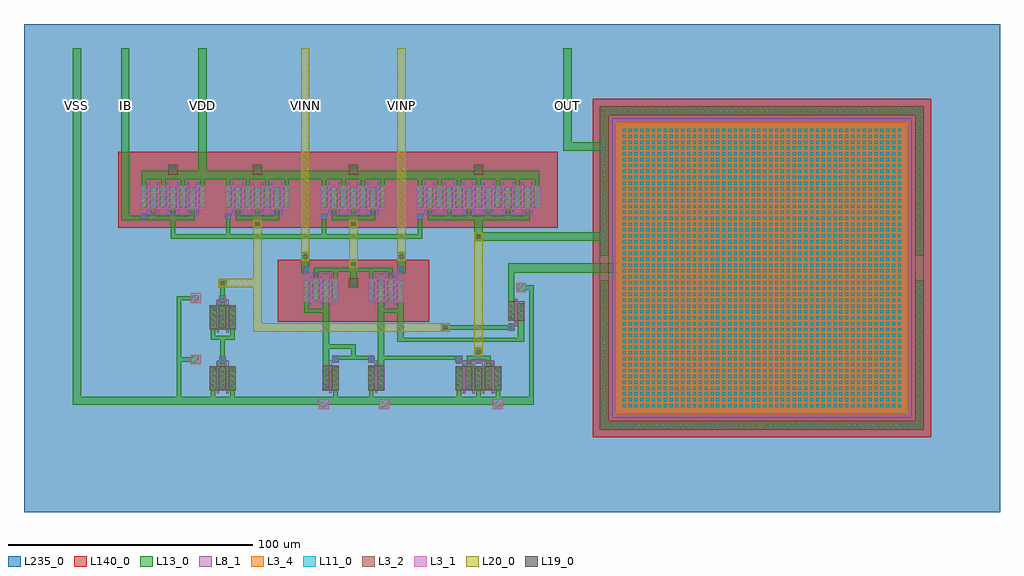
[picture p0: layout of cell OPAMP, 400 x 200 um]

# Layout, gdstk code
from math import pi, radians
import gdstk
lib = gdstk.Library(unit=1e-6, precision=1e-07)
def R(c, l, rs):  # rectangles x0, y0, x1, y1
    for r in rs: c.add(gdstk.rectangle(r[:2], r[2:], *l))
def A(c, l, x, y, w, h, nx, ny, dx, dy):  # array of equal rectangles
    R(c, l, [(x+i*dx, y+j*dy, x+i*dx+w, y+j*dy+h) for i in range(nx) for j in range(ny)])
def P(c, l, *ps):  # polygons
    for p in ps: c.add(gdstk.Polygon(p, *l))
L3_1 = (3, 1)
L3_2 = (3, 2)
L3_4 = (3, 4)
L8_1 = (8, 1)
L11_0 = (11, 0)
L13_0 = (13, 0)
L19_0 = (19, 0)
L20_0 = (20, 0)
L140_0 = (140, 0)
L235_0 = (235, 0)

fet_p_1 = lib.new_cell('fet_p$1')
R(fet_p_1, L3_1, [(-13.3,-5,13.3,5)])
A(fet_p_1, L11_0, -12.5, -3.5, 1, 1, 7, 4, 4, 2)
A(fet_p_1, L13_0, -13.3, -4.3, 2.6, 8.6, 7, 1, 4, 0)
fet_p_1.add(gdstk.FlexPath([(2,-6.2),(2,6.2)], 1, ends="flush", simple_path=True, layer=8, datatype=1))  # L8_1
fet_p_1.add(gdstk.FlexPath([(-2,-6.2),(-2,6.2)], 1, ends="flush", simple_path=True, layer=8, datatype=1))  # L8_1
fet_p_1.add(gdstk.FlexPath([(6,-6.2),(6,6.2)], 1, ends="flush", simple_path=True, layer=8, datatype=1))  # L8_1
fet_p_1.add(gdstk.FlexPath([(-6,-6.2),(-6,6.2)], 1, ends="flush", simple_path=True, layer=8, datatype=1))  # L8_1
fet_p_1.add(gdstk.FlexPath([(10,-6.2),(10,6.2)], 1, ends="flush", simple_path=True, layer=8, datatype=1))  # L8_1
fet_p_1.add(gdstk.FlexPath([(-10,-6.2),(-10,6.2)], 1, ends="flush", simple_path=True, layer=8, datatype=1))  # L8_1

fet_p_2 = lib.new_cell('fet_p$2')
R(fet_p_2, L3_1, [(-25.3,-5,25.3,5)])
A(fet_p_2, L11_0, -24.5, -3.5, 1, 1, 13, 4, 4, 2)
A(fet_p_2, L13_0, -25.3, -4.3, 2.6, 8.6, 13, 1, 4, 0)
fet_p_2.add(gdstk.FlexPath([(2,-6.2),(2,6.2)], 1, ends="flush", simple_path=True, layer=8, datatype=1))  # L8_1
fet_p_2.add(gdstk.FlexPath([(-2,-6.2),(-2,6.2)], 1, ends="flush", simple_path=True, layer=8, datatype=1))  # L8_1
fet_p_2.add(gdstk.FlexPath([(6,-6.2),(6,6.2)], 1, ends="flush", simple_path=True, layer=8, datatype=1))  # L8_1
fet_p_2.add(gdstk.FlexPath([(-6,-6.2),(-6,6.2)], 1, ends="flush", simple_path=True, layer=8, datatype=1))  # L8_1
fet_p_2.add(gdstk.FlexPath([(10,-6.2),(10,6.2)], 1, ends="flush", simple_path=True, layer=8, datatype=1))  # L8_1
fet_p_2.add(gdstk.FlexPath([(-10,-6.2),(-10,6.2)], 1, ends="flush", simple_path=True, layer=8, datatype=1))  # L8_1
fet_p_2.add(gdstk.FlexPath([(14,-6.2),(14,6.2)], 1, ends="flush", simple_path=True, layer=8, datatype=1))  # L8_1
fet_p_2.add(gdstk.FlexPath([(-14,-6.2),(-14,6.2)], 1, ends="flush", simple_path=True, layer=8, datatype=1))  # L8_1
fet_p_2.add(gdstk.FlexPath([(18,-6.2),(18,6.2)], 1, ends="flush", simple_path=True, layer=8, datatype=1))  # L8_1
fet_p_2.add(gdstk.FlexPath([(-18,-6.2),(-18,6.2)], 1, ends="flush", simple_path=True, layer=8, datatype=1))  # L8_1
fet_p_2.add(gdstk.FlexPath([(22,-6.2),(22,6.2)], 1, ends="flush", simple_path=True, layer=8, datatype=1))  # L8_1
fet_p_2.add(gdstk.FlexPath([(-22,-6.2),(-22,6.2)], 1, ends="flush", simple_path=True, layer=8, datatype=1))  # L8_1

fet_n_2 = lib.new_cell('fet_n$2')
R(fet_n_2, L3_2, [(-5.3,-5,5.3,5)])
A(fet_n_2, L11_0, -4.5, -3.5, 1, 1, 3, 4, 4, 2)
A(fet_n_2, L13_0, -5.3, -4.3, 2.6, 8.6, 3, 1, 4, 0)
fet_n_2.add(gdstk.FlexPath([(2,-6.2),(2,6.2)], 1, ends="flush", simple_path=True, layer=8, datatype=1))  # L8_1
fet_n_2.add(gdstk.FlexPath([(-2,-6.2),(-2,6.2)], 1, ends="flush", simple_path=True, layer=8, datatype=1))  # L8_1

fet_n_3 = lib.new_cell('fet_n$3')
R(fet_n_3, L3_2, [(-3.3,-4,3.3,4)])
A(fet_n_3, L11_0, -2.5, -2.5, 1, 1, 1, 3, 0, 2)
A(fet_n_3, L11_0, 1.5, -2.5, 1, 1, 1, 3, 0, 2)
R(fet_n_3, L13_0, [(-3.3,-3.3,-0.7,3.3), (0.7,-3.3,3.3,3.3)])
fet_n_3.add(gdstk.FlexPath([(0,-5.2),(0,5.2)], 1, ends="flush", simple_path=True, layer=8, datatype=1))  # L8_1

cont_g_1 = lib.new_cell('cont_g$1')
R(cont_g_1, L8_1, [(-1.3,-1.3,1.3,1.3)])
R(cont_g_1, L11_0, [(-0.5,-0.5,0.5,0.5)])
R(cont_g_1, L13_0, [(-1.3,-1.3,1.3,1.3)])

cont_g = lib.new_cell('cont_g')
R(cont_g, L8_1, [(-1.3,-1.3,1.3,1.3)])
R(cont_g, L11_0, [(-0.5,-0.5,0.5,0.5)])
R(cont_g, L13_0, [(-1.3,-1.3,1.3,1.3)])

cont_p = lib.new_cell('cont_p')
R(cont_p, L3_1, [(-2,-2,2,2)])
R(cont_p, L11_0, [(-0.5,-0.5,0.5,0.5)])
R(cont_p, L13_0, [(-1.3,-1.3,1.3,1.3)])

fet_p = lib.new_cell('fet_p')
R(fet_p, L3_1, [(-7.3,-5,7.3,5)])
A(fet_p, L11_0, -6.5, -3.5, 1, 1, 4, 4, 4, 2)
A(fet_p, L13_0, -7.3, -4.3, 2.6, 8.6, 4, 1, 4, 0)
fet_p.add(gdstk.FlexPath([(0,-6.2),(0,6.2)], 1, ends="flush", simple_path=True, layer=8, datatype=1))  # L8_1
fet_p.add(gdstk.FlexPath([(-4,-6.2),(-4,6.2)], 1, ends="flush", simple_path=True, layer=8, datatype=1))  # L8_1
fet_p.add(gdstk.FlexPath([(4,-6.2),(4,6.2)], 1, ends="flush", simple_path=True, layer=8, datatype=1))  # L8_1

cont_n = lib.new_cell('cont_n')
R(cont_n, L3_2, [(-2,-2,2,2)])
R(cont_n, L11_0, [(-0.5,-0.5,0.5,0.5)])
R(cont_n, L13_0, [(-1.3,-1.3,1.3,1.3)])

fet_n = lib.new_cell('fet_n')
R(fet_n, L3_2, [(-3.3,-5,3.3,5)])
A(fet_n, L11_0, -2.5, -3.5, 1, 1, 1, 4, 0, 2)
A(fet_n, L11_0, 1.5, -3.5, 1, 1, 1, 4, 0, 2)
R(fet_n, L13_0, [(-3.3,-4.3,-0.7,4.3), (0.7,-4.3,3.3,4.3)])
fet_n.add(gdstk.FlexPath([(0,-6.2),(0,6.2)], 1, ends="flush", simple_path=True, layer=8, datatype=1))  # L8_1

moscap = lib.new_cell('moscap')
P(moscap, L3_2, [(-66.3,-66.4),(-66.3,62.8),(-62.7,62.8),(-62.7,-62.8),(62.7,-62.8),(62.7,62.8),(-66.3,62.8),(-66.3,66.4),(66.3,66.4),(66.3,-66.4)])
R(moscap, L3_4, [(-59.9,-60,59.9,60)])
R(moscap, L8_1, [(-61.3,-61.4,61.3,61.4)])
A(moscap, L11_0, -65.1, -65.2, 1.2, 1.2, 1, 27, 0, 2.4)
A(moscap, L11_0, -65.1, -65.2, 1.2, 1.2, 25, 2, 2.4, 129.2)
A(moscap, L11_0, 6.3, -65.2, 1.2, 1.2, 25, 2, 2.4, 129.2)
A(moscap, L11_0, 63.9, -65.2, 1.2, 1.2, 1, 27, 0, 2.4)
A(moscap, L11_0, -57, -57, 1.2, 1.2, 48, 48, 2.4, 2.4)
A(moscap, L11_0, -65.1, 1.6, 1.2, 1.2, 1, 27, 0, 2.4)
A(moscap, L11_0, 63.9, 1.6, 1.2, 1.2, 1, 27, 0, 2.4)
R(moscap, L13_0, [(-59.3,-59.3,59.3,59.3)])
P(moscap, L13_0, [(-66.3,-66.4),(-66.3,66.4),(-5,66.4),(-5,62.8),(-62.7,62.8),(-62.7,-62.8),(-5,-62.8),(-5,-66.4)],
  [(5,-66.4),(5,-62.8),(62.7,-62.8),(62.7,62.8),(5,62.8),(5,66.4),(66.3,66.4),(66.3,-66.4)])
R(moscap, L140_0, [(-69.3,-69.4,69.3,69.4)])

via_1 = lib.new_cell('via_1')
R(via_1, L13_0, [(-1.7,-1.7,1.7,1.7)])
R(via_1, L19_0, [(-0.7,-0.7,0.7,0.7)])
R(via_1, L20_0, [(-1.7,-1.7,1.7,1.7)])

fet_n_1 = lib.new_cell('fet_n$1')
R(fet_n_1, L3_2, [(-9.3,-5,9.3,5)])
A(fet_n_1, L11_0, -8.5, -3.5, 1, 1, 5, 4, 4, 2)
A(fet_n_1, L13_0, -9.3, -4.3, 2.6, 8.6, 5, 1, 4, 0)
fet_n_1.add(gdstk.FlexPath([(2,-6.2),(2,6.2)], 1, ends="flush", simple_path=True, layer=8, datatype=1))  # L8_1
fet_n_1.add(gdstk.FlexPath([(-2,-6.2),(-2,6.2)], 1, ends="flush", simple_path=True, layer=8, datatype=1))  # L8_1
fet_n_1.add(gdstk.FlexPath([(6,-6.2),(6,6.2)], 1, ends="flush", simple_path=True, layer=8, datatype=1))  # L8_1
fet_n_1.add(gdstk.FlexPath([(-6,-6.2),(-6,6.2)], 1, ends="flush", simple_path=True, layer=8, datatype=1))  # L8_1

text_4 = lib.new_cell('TEXT$4')
P(text_4, L235_0, [(0,0),(0,5.6),(0.8,5.6),(1.6,4.8),(2.4,4.8),(3.2,5.6),(4,5.6),(4,0),(3.2,0),(3.2,4),(2.8,4),(2,3.2),(1.2,4),(0.8,4),(0.8,0)],
  [(5.6,0),(4.8,0.8),(4.8,1.6),(5.6,1.6),(5.6,1.2),(6,0.8),(7.6,0.8),(8,1.2),(8,2.4),(7.6,2.8),(4.8,2.8),(4.8,5.6),(8.8,5.6),(8.8,4.8),(5.6,4.8),(5.6,3.6),(8,3.6),(8.8,2.8),(8.8,0.8),(8,0)])

text_8 = lib.new_cell('TEXT$8')
P(text_8, L235_0, [(0,0),(0,5.6),(0.8,5.6),(1.6,4.8),(2.4,4.8),(3.2,5.6),(4,5.6),(4,0),(3.2,0),(3.2,4),(2.8,4),(2,3.2),(1.2,4),(0.8,4),(0.8,0)],
  [(5.6,0),(5.6,0.8),(6.8,0.8),(7.6,1.6),(7.6,2),(5.6,2),(4.8,2.8),(7.6,2.8),(8,3.2),(8,4.4),(7.6,4.8),(6,4.8),(5.6,4.4),(5.6,3.2),(6,2.8),(4.8,2.8),(4.8,4.8),(5.6,5.6),(8,5.6),(8.8,4.8),(8.8,1.6),(7.2,0)])

text_10 = lib.new_cell('TEXT$10')
P(text_10, L235_0, [(0,0),(0,5.6),(0.8,5.6),(1.6,4.8),(2.4,4.8),(3.2,5.6),(4,5.6),(4,0),(3.2,0),(3.2,4),(2.8,4),(2,3.2),(1.2,4),(0.8,4),(0.8,0)],
  [(4.8,0),(4.8,0.8),(6.4,0.8),(6.4,4),(6,4),(5.2,3.2),(4.8,3.2),(4.8,4),(6.4,5.6),(7.2,5.6),(7.2,0.8),(8.8,0.8),(8.8,0)],
  [(9.6,0),(9.6,0.8),(11.2,0.8),(11.2,4),(10.8,4),(10,3.2),(9.6,3.2),(9.6,4),(11.2,5.6),(12,5.6),(12,0.8),(13.6,0.8),(13.6,0)])

text_2 = lib.new_cell('TEXT$2')
P(text_2, L235_0, [(0,0),(0,5.6),(0.8,5.6),(1.6,4.8),(2.4,4.8),(3.2,5.6),(4,5.6),(4,0),(3.2,0),(3.2,4),(2.8,4),(2,3.2),(1.2,4),(0.8,4),(0.8,0)],
  [(5.6,0),(4.8,0.8),(4.8,1.6),(5.6,1.6),(5.6,1.2),(6,0.8),(7.6,0.8),(8,1.2),(8,2),(7.6,2.4),(6.4,2.4),(6.4,3.2),(7.6,3.2),(8,3.6),(8,4.4),(7.6,4.8),(6,4.8),(5.6,4.4),(5.6,4),(4.8,4),(4.8,4.8),(5.6,5.6),(8,5.6),(8.8,4.8),(8.8,3.2),(8.4,2.8),(8.8,2.4),(8.8,0.8),(8,0)])

text_6 = lib.new_cell('TEXT$6')
P(text_6, L235_0, [(0,0),(0,5.6),(0.8,5.6),(1.6,4.8),(2.4,4.8),(3.2,5.6),(4,5.6),(4,0),(3.2,0),(3.2,4),(2.8,4),(2,3.2),(1.2,4),(0.8,4),(0.8,0)],
  [(6.4,0),(6.4,2.8),(8,4.4),(8,4.8),(4.8,4.8),(4.8,5.6),(8.8,5.6),(8.8,4),(7.2,2.4),(7.2,0)])

text_7 = lib.new_cell('TEXT$7')
P(text_7, L235_0, [(0,0),(0,5.6),(0.8,5.6),(1.6,4.8),(2.4,4.8),(3.2,5.6),(4,5.6),(4,0),(3.2,0),(3.2,4),(2.8,4),(2,3.2),(1.2,4),(0.8,4),(0.8,0)],
  [(5.6,0),(4.8,0.8),(4.8,2.4),(5.2,2.8),(4.8,3.2),(4.8,4.8),(5.6,5.6),(8,5.6),(8.8,4.8),(6,4.8),(5.6,4.4),(5.6,3.6),(6,3.2),(7.6,3.2),(8,3.6),(8,4.4),(7.6,4.8),(8.8,4.8),(8.8,3.2),(8.4,2.8),(8.8,2.4),(6,2.4),(5.6,2),(5.6,1.2),(6,0.8),(7.6,0.8),(8,1.2),(8,2),(7.6,2.4),(8.8,2.4),(8.8,0.8),(8,0)])

text_1 = lib.new_cell('TEXT$1')
P(text_1, L235_0, [(0,0),(0,5.6),(0.8,5.6),(1.6,4.8),(2.4,4.8),(3.2,5.6),(4,5.6),(4,0),(3.2,0),(3.2,4),(2.8,4),(2,3.2),(1.2,4),(0.8,4),(0.8,0)],
  [(4.8,0),(4.8,2),(5.6,2.8),(7.6,2.8),(8,3.2),(8,4.4),(7.6,4.8),(6,4.8),(5.6,4.4),(5.6,4),(4.8,4),(4.8,4.8),(5.6,5.6),(8,5.6),(8.8,4.8),(8.8,2.8),(8,2),(6,2),(5.6,1.6),(5.6,0.8),(8.8,0.8),(8.8,0)])

text_5 = lib.new_cell('TEXT$5')
P(text_5, L235_0, [(0,0),(0,5.6),(0.8,5.6),(1.6,4.8),(2.4,4.8),(3.2,5.6),(4,5.6),(4,0),(3.2,0),(3.2,4),(2.8,4),(2,3.2),(1.2,4),(0.8,4),(0.8,0)],
  [(5.6,0),(4.8,0.8),(4.8,4),(6.4,5.6),(8,5.6),(8,4.8),(6.8,4.8),(6,4),(6,3.6),(8,3.6),(8.8,2.8),(6,2.8),(5.6,2.4),(5.6,1.2),(6,0.8),(7.6,0.8),(8,1.2),(8,2.4),(7.6,2.8),(8.8,2.8),(8.8,0.8),(8,0)])

text = lib.new_cell('TEXT')
P(text, L235_0, [(0,0),(0,5.6),(0.8,5.6),(1.6,4.8),(2.4,4.8),(3.2,5.6),(4,5.6),(4,0),(3.2,0),(3.2,4),(2.8,4),(2,3.2),(1.2,4),(0.8,4),(0.8,0)],
  [(4.8,0),(4.8,0.8),(6.4,0.8),(6.4,4),(6,4),(5.2,3.2),(4.8,3.2),(4.8,4),(6.4,5.6),(7.2,5.6),(7.2,0.8),(8.8,0.8),(8.8,0)])

text_3 = lib.new_cell('TEXT$3')
P(text_3, L235_0, [(0,0),(0,5.6),(0.8,5.6),(1.6,4.8),(2.4,4.8),(3.2,5.6),(4,5.6),(4,0),(3.2,0),(3.2,4),(2.8,4),(2,3.2),(1.2,4),(0.8,4),(0.8,0)],
  [(7.2,0),(7.2,1.2),(4.8,1.2),(4.8,2),(7.2,2),(7.2,4),(6.8,4),(5.6,2.8),(5.6,2),(4.8,2),(4.8,3.2),(7.2,5.6),(8,5.6),(8,2),(8.8,2),(8.8,1.2),(8,1.2),(8,0)])

text_9 = lib.new_cell('TEXT$9')
R(text_9, L235_0, [(11.2,2,12,3.6)])
P(text_9, L235_0, [(0,0),(0,5.6),(0.8,5.6),(1.6,4.8),(2.4,4.8),(3.2,5.6),(4,5.6),(4,0),(3.2,0),(3.2,4),(2.8,4),(2,3.2),(1.2,4),(0.8,4),(0.8,0)],
  [(4.8,0),(4.8,0.8),(6.4,0.8),(6.4,4),(6,4),(5.2,3.2),(4.8,3.2),(4.8,4),(6.4,5.6),(7.2,5.6),(7.2,0.8),(8.8,0.8),(8.8,0)],
  [(10.4,0),(9.6,0.8),(9.6,4.8),(10.4,5.6),(12.8,5.6),(13.6,4.8),(10.8,4.8),(10.4,4.4),(10.4,1.2),(10.8,0.8),(12.4,0.8),(12.8,1.2),(12.8,4.4),(12.4,4.8),(13.6,4.8),(13.6,0.8),(12.8,0)])

text_11 = lib.new_cell('TEXT$11')
P(text_11, L235_0, [(0,0),(0,5.6),(0.8,5.6),(1.6,4.8),(2.4,4.8),(3.2,5.6),(4,5.6),(4,0),(3.2,0),(3.2,4),(2.8,4),(2,3.2),(1.2,4),(0.8,4),(0.8,0)],
  [(4.8,0),(4.8,0.8),(6.4,0.8),(6.4,4),(6,4),(5.2,3.2),(4.8,3.2),(4.8,4),(6.4,5.6),(7.2,5.6),(7.2,0.8),(8.8,0.8),(8.8,0)],
  [(9.6,0),(9.6,2),(10.4,2.8),(12.4,2.8),(12.8,3.2),(12.8,4.4),(12.4,4.8),(10.8,4.8),(10.4,4.4),(10.4,4),(9.6,4),(9.6,4.8),(10.4,5.6),(12.8,5.6),(13.6,4.8),(13.6,2.8),(12.8,2),(10.8,2),(10.4,1.6),(10.4,0.8),(13.6,0.8),(13.6,0)])

opamp = lib.new_cell('OPAMP')
R(opamp, L8_1, [(78.9,61,83.9,62), (177,61,192.8,62), (125.1,61.2,128.9,62.2), (141,61.2,144.8,62.2), (198.4,76.1,202.2,77.1), (78.9,86,83.9,87), (114.4,97.1,126.2,98.1), (143.8,97.1,155.6,98.1), (47.8,121.7,71.6,122.7), (82.4,121.7,106.2,122.7), (121.7,121.7,145.5,122.7), (161,121.7,208.8,122.7)])
A(opamp, L13_0, 82.8, 112, 1.8, 9.7, 3, 1, 39.3, 0)
R(opamp, L13_0, [(20,43.9,23.4,170), (20,43.9,208.9,47.3), (62.6,43.9,64.4,88.5), (126.7,43.9,128.5,51.3), (141.4,43.9,143.2,51.3), (207.1,43.9,208.9,92.9), (80.5,58.3,82.3,72.3), (122.4,59,125,86.6), (145,59,147.6,86.6), (62.6,61.6,71.7,63.4), (126.4,62.3,143.6,64.1), (134.1,62.3,135.9,68.8), (145,62.3,179.6,64.1), (122.4,67,135.9,68.8), (153,69.7,205,71.5), (153,69.7,155.6,86.6), (202.4,69.7,205,79.8), (171,74.7,201,76.5), (80.5,83.3,82.3,95.5), (198.4,84.8,201,102), (62.6,86.7,71.7,88.5), (204.2,91.1,208.9,92.9), (133.7,92.6,136.3,100.2), (113.6,98,117,104), (153,98,156.4,104), (198.4,98,245.4,102), (126.8,98.4,143.2,100.2), (184.6,111.2,188,121.4), (184.6,111.2,239.6,114.6), (60.2,112,62,121.7), (60.2,112,163.2,113.8), (94.8,117.4,96.6,121.4), (134.1,117.4,135.9,121.4), (39.8,119.6,52.2,121.4), (39.8,119.6,43.2,170), (48.2,136.4,211.2,139.8), (71.4,136.4,74.8,170), (221,148.1,239.6,151.5), (221,148.1,224.4,170), (20,170,23.4,190), (39.8,170,43.2,190), (71.4,170,74.8,190), (221,170,224.4,190)])
P(opamp, L13_0, [(118.8,94.4),(118.8,100.2),(128.6,100.2),(128.6,94.4),(126.8,94.4),(126.8,98.4),(120.6,98.4),(120.6,94.4)],
  [(126.1,119.6),(126.1,125.4),(127.9,125.4),(127.9,121.4),(134.1,121.4),(134.1,125.4),(135.9,125.4),(135.9,121.4),(142.1,121.4),(142.1,125.4),(143.9,125.4),(143.9,119.6)],
  [(122.1,132.4),(122.1,138.2),(147.9,138.2),(147.9,132.4),(146.1,132.4),(146.1,136.4),(139.9,136.4),(139.9,132.4),(138.1,132.4),(138.1,136.4),(131.9,136.4),(131.9,132.4),(130.1,132.4),(130.1,136.4),(123.9,136.4),(123.9,132.4)],
  [(82.8,132.4),(82.8,138.2),(108.6,138.2),(108.6,132.4),(106.8,132.4),(106.8,136.4),(100.6,136.4),(100.6,132.4),(98.8,132.4),(98.8,136.4),(92.6,136.4),(92.6,132.4),(90.8,132.4),(90.8,136.4),(84.6,136.4),(84.6,132.4)],
  [(86.8,119.6),(86.8,125.4),(88.6,125.4),(88.6,121.4),(94.8,121.4),(94.8,125.4),(96.6,125.4),(96.6,121.4),(102.8,121.4),(102.8,125.4),(104.6,125.4),(104.6,119.6)],
  [(48.2,132.4),(48.2,138.2),(74,138.2),(74,132.4),(72.2,132.4),(72.2,136.4),(66,136.4),(66,132.4),(64.2,132.4),(64.2,136.4),(58,136.4),(58,132.4),(56.2,132.4),(56.2,136.4),(50,136.4),(50,132.4)],
  [(52.2,119.6),(52.2,125.4),(54,125.4),(54,121.4),(60.2,121.4),(60.2,125.4),(62,125.4),(62,121.4),(68.2,121.4),(68.2,125.4),(70,125.4),(70,119.6)],
  [(165.4,119.6),(165.4,125.4),(167.2,125.4),(167.2,121.4),(173.4,121.4),(173.4,125.4),(175.2,125.4),(175.2,121.4),(181.4,121.4),(181.4,125.4),(183.2,125.4),(183.2,121.4),(189.4,121.4),(189.4,125.4),(191.2,125.4),(191.2,121.4),(197.4,121.4),(197.4,125.4),(199.2,125.4),(199.2,121.4),(205.4,121.4),(205.4,125.4),(207.2,125.4),(207.2,119.6)],
  [(161.4,132.4),(161.4,138.2),(211.2,138.2),(211.2,132.4),(209.4,132.4),(209.4,136.4),(203.2,136.4),(203.2,132.4),(201.4,132.4),(201.4,136.4),(195.2,136.4),(195.2,132.4),(193.4,132.4),(193.4,136.4),(187.2,136.4),(187.2,132.4),(185.4,132.4),(185.4,136.4),(179.2,136.4),(179.2,132.4),(177.4,132.4),(177.4,136.4),(171.2,136.4),(171.2,132.4),(169.4,132.4),(169.4,136.4),(163.2,136.4),(163.2,132.4)],
  [(177.4,45.5),(177.4,51.3),(179.2,51.3),(179.2,47.3),(185.4,47.3),(185.4,51.3),(187.2,51.3),(187.2,47.3),(193.4,47.3),(193.4,51.3),(195.2,51.3),(195.2,45.5)],
  [(181.4,58.3),(181.4,64.1),(191.2,64.1),(191.2,58.3),(189.4,58.3),(189.4,62.3),(183.2,62.3),(183.2,58.3)],
  [(114.8,81.6),(114.8,87.4),(116.6,87.4),(116.6,83.4),(122.8,83.4),(122.8,87.4),(124.6,87.4),(124.6,81.6)],
  [(118.8,94.4),(118.8,100.2),(128.6,100.2),(128.6,94.4),(126.8,94.4),(126.8,98.4),(120.6,98.4),(120.6,94.4)],
  [(141.4,94.4),(141.4,100.2),(151.2,100.2),(151.2,94.4),(149.4,94.4),(149.4,98.4),(143.2,98.4),(143.2,94.4)],
  [(145.4,81.6),(145.4,87.4),(147.2,87.4),(147.2,83.4),(153.4,83.4),(153.4,87.4),(155.2,87.4),(155.2,81.6)],
  [(76.5,45.5),(76.5,51.3),(78.3,51.3),(78.3,47.3),(84.5,47.3),(84.5,51.3),(86.3,51.3),(86.3,45.5)],
  [(76.5,70.5),(76.5,76.3),(78.3,76.3),(78.3,72.3),(84.5,72.3),(84.5,76.3),(86.3,76.3),(86.3,70.5)])
R(opamp, L20_0, [(184.6,63.9,188,114.6), (94,73.9,97.4,119.8), (94,73.9,174.4,77.3), (79.7,92.1,97.4,95.5), (133.3,100,136.7,119.8), (113.6,103,117,170), (153,103,156.4,170), (113.6,170,117,190), (153,170,156.4,190)])
R(opamp, L140_0, [(104,77.9,166,103.4), (38.7,116.4,218.7,147.7)])
R(opamp, L235_0, [(0,0,400,200)])
opamp.add(gdstk.Reference(fet_p_1, (135,128.9)))
opamp.add(gdstk.Reference(fet_p_2, (186.3,128.9)))
opamp.add(gdstk.Reference(fet_p_1, (61.1,128.9)))
opamp.add(gdstk.Reference(fet_p_1, (95.7,128.9)))
opamp.add(gdstk.Reference(fet_n_2, (81.4,79.8)))
opamp.add(gdstk.Reference(fet_n_2, (81.4,54.8)))
opamp.add(gdstk.Reference(fet_n_3, (201.7,82.3)))
opamp.add(gdstk.Reference(cont_g_1, (123,121.2)))
opamp.add(gdstk.Reference(cont_g_1, (162.3,121.2)))
opamp.add(gdstk.Reference(cont_g, (49.1,121.2)))
opamp.add(gdstk.Reference(cont_g, (83.7,121.2)))
opamp.add(gdstk.Reference(cont_g, (81.4,87.5)))
opamp.add(gdstk.Reference(cont_g, (81.4,62.5)))
opamp.add(gdstk.Reference(cont_g, (199.7,75.6)))
opamp.add(gdstk.Reference(cont_p, (70.4,62.5)))
opamp.add(gdstk.Reference(cont_g, (154.3,99.3)))
opamp.add(gdstk.Reference(cont_g, (115.7,99.3)))
opamp.add(gdstk.Reference(fet_p, (148.3,90.9)))
opamp.add(gdstk.Reference(fet_p, (121.7,90.9)))
opamp.add(gdstk.Reference(cont_p, (70.4,87.6)))
opamp.add(gdstk.Reference(cont_n, (95.7,140.3)))
opamp.add(gdstk.Reference(cont_g, (142.3,62.7)))
opamp.add(gdstk.Reference(fet_n, (144.3,55)))
opamp.add(gdstk.Reference(fet_n, (125.7,55)))
opamp.add(gdstk.Reference(cont_g, (127.7,62.7)))
opamp.add(gdstk.Reference(cont_p, (122.8,44.2)))
opamp.add(gdstk.Reference(cont_p, (147.6,44.2)))
opamp.add(gdstk.Reference(cont_p, (203.7,92)))
opamp.add(gdstk.Reference(moscap, (302.4,100), rotation=pi/2))
opamp.add(gdstk.Reference(via_1, (135,118.1)))
opamp.add(gdstk.Reference(via_1, (186.3,112.9)))
opamp.add(gdstk.Reference(via_1, (172.7,75.6)))
opamp.add(gdstk.Reference(via_1, (81.4,93.8)))
opamp.add(gdstk.Reference(via_1, (95.7,118.1)))
opamp.add(gdstk.Reference(via_1, (135,101.7)))
opamp.add(gdstk.Reference(via_1, (186.3,65.6)))
opamp.add(gdstk.Reference(cont_p, (194.2,44.2)))
opamp.add(gdstk.Reference(fet_n_1, (186.3,54.8)))
opamp.add(gdstk.Reference(cont_g, (178.3,62.5)))
opamp.add(gdstk.Reference(via_1, (115.3,104.7)))
opamp.add(gdstk.Reference(text_4, (121.5,141)))
opamp.add(gdstk.Reference(text_8, (82.5,141)))
opamp.add(gdstk.Reference(text_10, (87.5,49)))
opamp.add(gdstk.Reference(text_2, (113,54.4)))
opamp.add(gdstk.Reference(text_6, (196.6,54.4)))
opamp.add(gdstk.Reference(text_7, (48,141)))
opamp.add(gdstk.Reference(text_1, (156.5,90.2)))
opamp.add(gdstk.Reference(text_5, (161,141)))
opamp.add(gdstk.Reference(text, (104.8,90.2)))
opamp.add(gdstk.Reference(text_3, (148.5,54.4)))
opamp.add(gdstk.Reference(text_9, (87.5,66.6)))
opamp.add(gdstk.Reference(text_11, (210.1,87.4)))
opamp.add(gdstk.Reference(via_1, (154.7,104.7)))
opamp.add(gdstk.Reference(cont_n, (135,93.9)))
opamp.add(gdstk.Reference(cont_n, (61.1,140.3)))
opamp.add(gdstk.Reference(cont_n, (186.3,140.3)))
opamp.add(gdstk.Reference(cont_n, (135,140.3)))
opamp.add(gdstk.Label('VSS', (21.7,166.5), layer=13, texttype=0))
opamp.add(gdstk.Label('IB', (41.5,166.5), layer=13, texttype=0))
opamp.add(gdstk.Label('VDD', (73.1,166.5), layer=13, texttype=0))
opamp.add(gdstk.Label('OUT', (222.7,166.5), layer=13, texttype=0))
opamp.add(gdstk.Label('VINN', (115.3,166.5), layer=20, texttype=0))
opamp.add(gdstk.Label('VINP', (154.8,166.5), layer=20, texttype=0))

lib.write_gds('OPAMP.gds')
